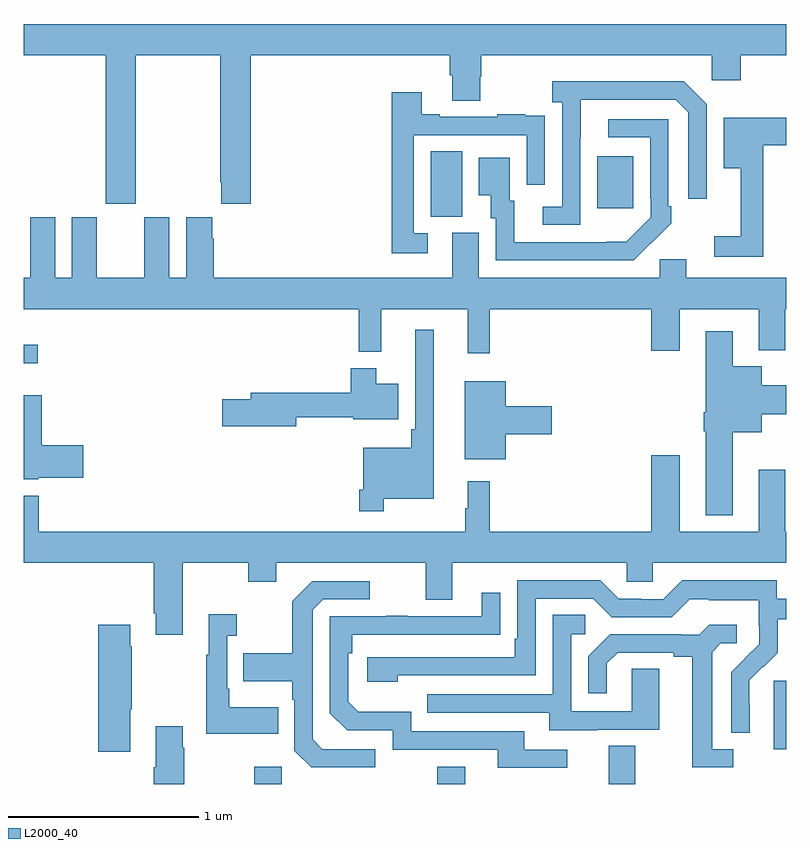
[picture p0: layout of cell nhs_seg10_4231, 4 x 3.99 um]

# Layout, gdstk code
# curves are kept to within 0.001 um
import gdstk
lib = gdstk.Library(unit=1e-6, precision=1e-09)
def R(c, l, rs):  # rectangles x0, y0, x1, y1
    for r in rs: c.add(gdstk.rectangle(r[:2], r[2:], *l))
def P(c, l, *ps):  # polygons
    for p in ps: c.add(gdstk.Polygon(p, *l))
L2000_40 = (2000, 40)

nhs_seg10_4231 = lib.new_cell('nhs_seg10_4231')
R(nhs_seg10_4231, L2000_40, [(348.208,1288.5,348.354,1288.591), (349.168,1288.5,349.315,1288.591), (350.069,1288.5,350.209,1288.7), (350.936,1288.682,351,1289.043), (347,1290.708,347.074,1290.804), (349.136,1291.477,349.3,1291.82), (350.009,1291.521,350.197,1291.795)])
P(nhs_seg10_4231, L2000_40, [(347.586,1292.324),(348.031,1292.324),(348.031,1291.657),(348.035,1291.657),(348.035,1291.545),(348.191,1291.545),(348.191,1292.324),(349.235,1292.324),(349.235,1292.218),(349.247,1292.218),(349.247,1292.086),(349.395,1292.086),(349.395,1292.211),(349.4,1292.211),(349.4,1292.324),(350.61,1292.324),(350.61,1292.193),(350.762,1292.193),(350.762,1292.324),(351,1292.324),(351,1292.488),(347,1292.488),(347,1292.324),(347.431,1292.324),(347.431,1291.545),(347.586,1291.545)],
  [(349.92,1291.891),(349.921,1292.091),(350.421,1292.091),(350.487,1292.025),(350.487,1291.572),(350.583,1291.572),(350.583,1292.067),(350.462,1292.188),(349.773,1292.188),(349.773,1292.078),(349.824,1292.078),(349.824,1291.53),(349.722,1291.53),(349.722,1291.434),(349.92,1291.434)],
  [(349.12,1291.389),(349.047,1291.389),(349.047,1291.905),(349.638,1291.905),(349.638,1291.644),(349.734,1291.644),(349.734,1291.898),(349.733,1291.898),(349.733,1292.007),(349.631,1292.007),(349.631,1292.014),(349.483,1292.014),(349.483,1292.001),(349.183,1292.001),(349.183,1292.014),(349.087,1292.014),(349.087,1292.131),(348.931,1292.131),(348.931,1291.284),(349.12,1291.284)],
  [(350.879,1291.853),(351,1291.853),(351,1291.995),(350.672,1291.995),(350.672,1291.73),(350.762,1291.73),(350.762,1291.375),(350.622,1291.375),(350.622,1291.266),(350.879,1291.266)],
  [(350.291,1291.339),(350.292,1291.338),(350.397,1291.443),(350.397,1291.531),(350.382,1291.531),(350.382,1291.989),(350.067,1291.989),(350.067,1291.893),(350.286,1291.893),(350.286,1291.573),(350.289,1291.573),(350.289,1291.473),(350.161,1291.345),(349.573,1291.344),(349.573,1291.56),(349.549,1291.56),(349.549,1291.786),(349.388,1291.786),(349.388,1291.589),(349.451,1291.589),(349.451,1291.47),(349.476,1291.47),(349.476,1291.248),(350.2,1291.248)],
  [(349.445,1290.992),(350.291,1290.992),(350.291,1290.774),(350.443,1290.774),(350.443,1290.992),(350.855,1290.992),(350.855,1290.776),(350.995,1290.776),(350.995,1290.992),(351,1290.992),(351,1291.156),(350.476,1291.156),(350.476,1291.254),(350.337,1291.254),(350.337,1291.156),(349.387,1291.156),(349.387,1291.392),(349.247,1291.392),(349.247,1291.156),(347.996,1291.156),(347.996,1291.361),(347.989,1291.361),(347.989,1291.474),(347.852,1291.474),(347.852,1291.156),(347.764,1291.156),(347.764,1291.474),(347.633,1291.474),(347.633,1291.156),(347.383,1291.156),(347.383,1291.474),(347.252,1291.474),(347.252,1291.156),(347.164,1291.156),(347.164,1291.474),(347.033,1291.474),(347.033,1291.156),(347,1291.156),(347,1290.992),(348.757,1290.992),(348.757,1290.767),(348.875,1290.767),(348.875,1290.992),(349.328,1290.992),(349.328,1290.759),(349.445,1290.759)],
  [(348.889,1289.996),(349.15,1289.996),(349.15,1290.883),(349.053,1290.883),(349.053,1290.361),(349.033,1290.361),(349.033,1290.265),(348.78,1290.265),(348.78,1290.043),(348.76,1290.043),(348.76,1289.931),(348.889,1289.931)],
  [(350.719,1290.347),(350.872,1290.347),(350.872,1290.44),(351,1290.44),(351,1290.592),(350.872,1290.592),(350.872,1290.691),(350.719,1290.691),(350.719,1290.877),(350.579,1290.877),(350.579,1290.451),(350.567,1290.451),(350.567,1290.351),(350.579,1290.351),(350.579,1289.909),(350.719,1289.909)],
  [(348.43,1290.424),(348.728,1290.424),(348.728,1290.413),(348.964,1290.413),(348.964,1290.601),(348.85,1290.601),(348.85,1290.682),(348.716,1290.682),(348.716,1290.553),(348.191,1290.553),(348.191,1290.519),(348.042,1290.519),(348.042,1290.377),(348.43,1290.377)],
  [(349.528,1290.335),(349.771,1290.335),(349.771,1290.482),(349.528,1290.482),(349.528,1290.613),(349.313,1290.613),(349.313,1290.203),(349.528,1290.203)],
  [(347.076,1290.107),(347.311,1290.107),(347.311,1290.278),(347.093,1290.278),(347.093,1290.541),(347,1290.541),(347,1290.098),(347.076,1290.098)],
  [(347.833,1289.66),(348.178,1289.66),(348.178,1289.561),(348.325,1289.561),(348.325,1289.66),(349.109,1289.66),(349.109,1289.466),(349.249,1289.466),(349.249,1289.66),(350.163,1289.66),(350.163,1289.562),(350.301,1289.562),(350.301,1289.66),(351,1289.66),(351,1289.824),(350.995,1289.824),(350.995,1290.148),(350.855,1290.148),(350.855,1289.824),(350.443,1289.824),(350.443,1290.226),(350.291,1290.226),(350.291,1289.824),(349.445,1289.824),(349.445,1290.088),(349.328,1290.088),(349.328,1289.948),(349.317,1289.948),(349.317,1289.824),(347.078,1289.824),(347.078,1290.013),(347,1290.013),(347,1289.66),(347.681,1289.66),(347.681,1289.395),(347.693,1289.395),(347.693,1289.283),(347.833,1289.283)],
  [(350.808,1288.922),(350.807,1289.045),(350.877,1289.115),(350.88,1289.112),(350.957,1289.189),(350.957,1289.364),(351,1289.364),(351,1289.472),(350.952,1289.472),(350.952,1289.569),(350.455,1289.569),(350.355,1289.469),(350.24,1289.469),(350.24,1289.472),(350.121,1289.472),(350.025,1289.568),(349.59,1289.568),(349.59,1289.263),(349.577,1289.263),(349.577,1289.166),(348.801,1289.166),(348.801,1289.036),(348.962,1289.036),(348.962,1289.07),(349.686,1289.07),(349.686,1289.472),(349.989,1289.472),(350.085,1289.376),(350.4,1289.376),(350.493,1289.469),(350.593,1289.469),(350.593,1289.465),(350.856,1289.465),(350.856,1289.331),(350.858,1289.331),(350.858,1289.234),(350.712,1289.086),(350.712,1288.768),(350.808,1288.768)],
  [(348.844,1288.683),(348.567,1288.683),(348.516,1288.734),(348.516,1289.415),(348.57,1289.469),(348.814,1289.469),(348.814,1289.565),(348.513,1289.565),(348.408,1289.459),(348.408,1289.187),(348.151,1289.187),(348.151,1289.039),(348.408,1289.039),(348.408,1288.943),(348.42,1288.943),(348.42,1288.674),(348.507,1288.587),(348.844,1288.587)],
  [(349.852,1288.68),(349.627,1288.68),(349.627,1288.776),(349.032,1288.776),(349.032,1288.879),(348.755,1288.879),(348.702,1288.932),(348.702,1289.186),(348.722,1289.186),(348.722,1289.283),(349.499,1289.284),(349.499,1289.503),(349.403,1289.503),(349.403,1289.379),(349.013,1289.379),(349.013,1289.384),(348.901,1289.384),(348.901,1289.379),(348.606,1289.379),(348.606,1288.872),(348.696,1288.782),(348.936,1288.782),(348.936,1288.68),(349.487,1288.68),(349.487,1288.584),(349.852,1288.584)],
  [(348.335,1288.903),(348.079,1288.903),(348.079,1288.999),(348.066,1288.999),(348.066,1289.279),(348.118,1289.279),(348.118,1289.392),(347.969,1289.392),(347.969,1289.179),(347.958,1289.179),(347.958,1288.763),(348.335,1288.763)],
  [(350.011,1288.785),(350.335,1288.785),(350.335,1289.105),(350.19,1289.105),(350.19,1288.881),(349.872,1288.881),(349.872,1289.286),(349.945,1289.286),(349.945,1289.387),(349.776,1289.387),(349.776,1288.971),(349.117,1288.971),(349.117,1288.875),(349.757,1288.875),(349.757,1288.781),(350.011,1288.781)],
  [(347.557,1288.891),(347.565,1288.891),(347.565,1289.222),(347.557,1289.222),(347.557,1289.335),(347.39,1289.335),(347.39,1288.668),(347.557,1288.668)],
  [(350.722,1288.683),(350.611,1288.683),(350.611,1289.191),(350.658,1289.238),(350.74,1289.238),(350.74,1289.335),(350.596,1289.335),(350.544,1289.283),(350.45,1289.283),(350.45,1289.286),(350.078,1289.286),(349.962,1289.17),(349.962,1288.977),(350.059,1288.977),(350.059,1289.133),(350.116,1289.19),(350.411,1289.19),(350.411,1289.168),(350.507,1289.168),(350.507,1288.587),(350.722,1288.587)],
  [(347.841,1288.691),(347.833,1288.691),(347.833,1288.804),(347.693,1288.804),(347.693,1288.588),(347.681,1288.588),(347.681,1288.5),(347.841,1288.5)])

lib.write_gds('nhs_seg10_4231.gds')
